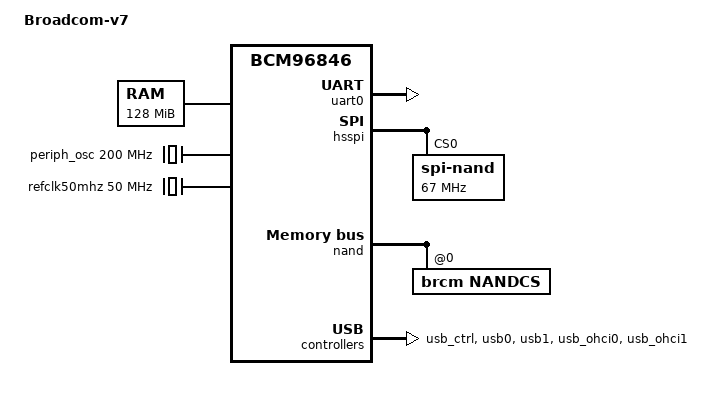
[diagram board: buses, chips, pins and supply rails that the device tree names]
/dts-v1/;



/ {
	model = "Broadcom-v7";
	compatible = "brcm,brcm-v7";
	#address-cells = <0x1>;
	#size-cells = <0x1>;

	aliases {
		serial0 = &uart0;
	};


	chosen {
		stdout-path = "serial0:115200n8";
	};

    memory {
        device_type = "memory";
        reg = <0x0 0x08000000>;
    };

    boot_state {
        u-boot,dm-pre-reloc;
        compatible = "brcm,bcmbca-bootstate-v2";
        reg-names = "reset_reason", "reset_status";
        reg =   <0xff80263c 0x04>,
            <0xff85a03c 0x04>;
    };

    clocks {
        compatible = "simple-bus";
        #address-cells = <1>;
        #size-cells = <1>;
        ranges;
        u-boot,dm-pre-reloc;

        periph_osc: periph-osc {
            compatible = "fixed-clock";
            #clock-cells = <0>;
            clock-frequency = <200000000>;
            u-boot,dm-pre-reloc;
        };

        refclk50mhz: refclk50mhz {
            compatible = "fixed-clock";
            #clock-cells = <0>;
            clock-frequency = <50000000>;
        };

	hsspi_pll: hsspi-pll {
		compatible = "fixed-factor-clock";
		#clock-cells = <0>;
		clocks = <&periph_osc>;
		clock-mult = <2>;
		clock-div = <1>;
		u-boot,dm-pre-reloc;
	};
    };

	ubus@ff800000 {
		compatible = "simple-bus";
		#address-cells = <0x1>;
		#size-cells = <0x1>;
		u-boot,dm-pre-reloc;

		uart0: serial@ff800640 {
		    compatible = "brcm,bcm6345-uart";
		    reg = <0xff800640 0x18>;
		    clocks = <&periph_osc>;
		    status = "disabled";
		};

		wdt1: watchdog@ff802780 {
		    compatible = "brcm,bcm6345-wdt";
		    reg = <0xff800480 0x14>;
		    clocks = <&refclk50mhz>;
		};

		wdt2: watchdog@ff8027c0 {
		    compatible = "brcm,bcm6345-wdt";
		    reg = <0xff8004c0 0x14>;
		    clocks = <&refclk50mhz>;
		};


		wdt-reboot {
		    compatible = "wdt-reboot";
		    wdt = <&wdt1>;
		};

		hsspi: hsspi@ff801000 {
			compatible = "brcm,bcm6328-hsspi";
			#address-cells = <0x1>;
			#size-cells = <0x0>;
			u-boot,dm-pre-reloc;
			
			reg = <0x0 0xff801000 0x0 0x1000>;
			clocks = <&hsspi_pll>, <&hsspi_pll>;
			clock-names = "hsspi", "pll";
			spi-max-frequency = <67000000>;
			num-cs = <8>;
			status = "disabled";
		};
		

		nand: nand-controller@ff801800 {
		    compatible = "brcm,nand-bcmbca", "brcm,brcmnand-v7.1";
		    reg-names = "nand", "nand-int-base";
		    reg = <0xff801800 0x600>, <0xff802000 0x10>;
		    parameter-page-big-endian = <0>;
		    status = "disabled";
		}; 

		rng: rng@ff800b80 {
			compatible = "brcm,iproc-rng200";
			reg = <0xff800b80 0x28>;
			u-boot,dm-pre-reloc;
		};

		pinctrl: pinctrl {
		compatible = "brcm,bcmbca-pinctrl";
		reg = <0xff800554 0x14>;
        gpio-mux = <4>;
		};

        gpioc: gpioc {
			compatible = "brcm,bca-gpio";
            gpio-controller;
            #gpio-cells = <2>;
            reg = <0x0 0xff800500 0x0 0x20>, <0x0 0xff800520 0x0 0x20>;
            reg-names = "gpio-dir", "gpio-data";
            ngpios = <79>;
            gpio-ranges = <&pinctrl 0 0 79>;
        };

		usb_ctrl:usb_ctrl {
		compatible = "brcm,bcmbca-usb-ctrl";
		reg-names = "usb-ctrl";
		reg = <0x8000c200 0x100>;
		status = "okay";
		};

		usb0: usb@0x8000c300 {
		compatible = "brcm,bcmbca-ehci";
		reg-names = "usb-ehci";
		reg = <0x8000c300 0x100>;
		};

		usb1: usb@0x8000c500 {
		compatible = "brcm,bcmbca-ehci";
		reg-names = "usb-ehci";
		reg = <0x8000c500 0x100>;
		};

		usb_ohci0: usb_ohci@0x8000c400 {
		compatible = "brcm,bcmbca-ohci";
		reg-names = "usb-ohci";
		reg = <0x8000c400 0x100>;
		};

		usb_ohci1: usb_ohci@0x8000c600 {
		compatible = "brcm,bcmbca-ohci";
		reg-names = "usb-ohci";
		reg = <0x8000c600 0x100>;
		};
	}; 
};

&uart0 {
    u-boot,dm-pre-reloc;
    status = "okay";
};

&nand {
    status = "okay";
    write-protect = <0>;
    #address-cells = <1>;
    #size-cells = <0>;

    nandcs@0 {
        compatible = "brcm,nandcs";
        reg = <0>;
    };
};

&hsspi {
	status = "okay";
	spi-nand {
		compatible = "spi-nand";
		reg = <0>;
		#address-cells = <1>;
		#size-cells = <0>;
		u-boot,dm-pre-reloc;				
		spi-max-frequency = <67000000>;
	};
};

/* &hsspi {
	status = "okay";
	spi-flash@0 {
		compatible = "spi-flash";
		reg = <0>;
		#address-cells = <1>;
		#size-cells = <1>;
		spi-max-frequency = <20000000>;
	};
}; */

/* pinmux */
/ {
	usb0a_pwrflt_pins: usb0a_pwrflt_pinmux {
	    pins = <74>;
	    function = <1>;
	};

	usb0a_pwron_pins: usb0a_pwron_pinmux {
	    pins = <75>;
	    function = <1>;
	};

	usb1a_pwrflt_pins: usb1a_pwrflt_pinmux {
	    pins = <76>;
	    function = <1>;
	};

	usb1a_pwron_pins: usb1a_pwron_pinmux {
	    pins = <77>;
	    function = <1>;
	};
};

&usb0 {
	status = "okay";
	pinctrl-0 = <&usb0a_pwrflt_pins &usb0a_pwron_pins>;
	pinctrl-names="default";
};

&usb1 {
	status = "okay";
	pinctrl-0 = <&usb1a_pwrflt_pins &usb1a_pwron_pins>;
	pinctrl-names="default";
};
